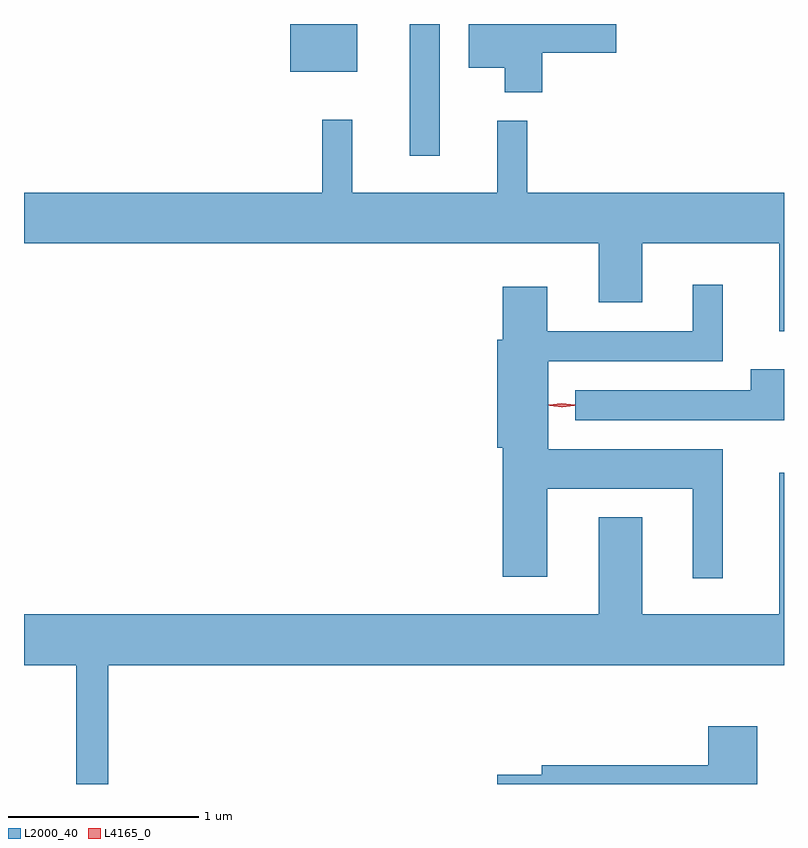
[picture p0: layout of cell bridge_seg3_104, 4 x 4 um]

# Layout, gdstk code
import gdstk
lib = gdstk.Library(unit=1e-6, precision=1e-09)
def R(c, l, rs):  # rectangles x0, y0, x1, y1
    for r in rs: c.add(gdstk.rectangle(r[:2], r[2:], *l))
def P(c, l, *ps):  # polygons
    for p in ps: c.add(gdstk.Polygon(p, *l))
L2000_40 = (2000, 40)
L4165_0 = (4165, 0)

bridge_seg3_104 = lib.new_cell('bridge_seg3_104')
R(bridge_seg3_104, L2000_40, [(1031.026,1224.158,1031.184,1224.851), (1030.396,1224.601,1030.749,1224.851)])
P(bridge_seg3_104, L2000_40, [(1031.724,1224.701),(1032.114,1224.701),(1032.114,1224.851),(1031.336,1224.851),(1031.336,1224.621),(1031.526,1224.621),(1031.526,1224.491),(1031.724,1224.491)],
  [(1032.996,1223.964),(1031.644,1223.964),(1031.644,1224.343),(1031.486,1224.343),(1031.486,1223.964),(1030.724,1223.964),(1030.724,1224.348),(1030.566,1224.348),(1030.566,1223.964),(1028.996,1223.964),(1028.996,1223.696),(1032.021,1223.696),(1032.021,1223.386),(1032.249,1223.386),(1032.249,1223.696),(1032.971,1223.696),(1032.971,1223.233),(1032.996,1223.233)],
  [(1032.674,1222.614),(1031.754,1222.614),(1031.754,1223.076),(1032.674,1223.076),(1032.674,1223.478),(1032.516,1223.478),(1032.516,1223.234),(1031.749,1223.234),(1031.749,1223.469),(1031.516,1223.469),(1031.516,1223.189),(1031.486,1223.189),(1031.486,1222.621),(1031.516,1222.621),(1031.516,1221.941),(1031.749,1221.941),(1031.749,1222.406),(1032.516,1222.406),(1032.516,1221.933),(1032.674,1221.933)],
  [(1032.996,1223.034),(1032.821,1223.034),(1032.821,1222.924),(1031.898,1222.924),(1031.898,1222.766),(1032.996,1222.766)],
  [(1029.439,1221.476),(1032.996,1221.476),(1032.996,1222.488),(1032.971,1222.488),(1032.971,1221.744),(1032.249,1221.744),(1032.249,1222.254),(1032.021,1222.254),(1032.021,1221.744),(1028.996,1221.744),(1028.996,1221.476),(1029.271,1221.476),(1029.271,1220.851),(1029.439,1220.851)],
  [(1032.854,1221.154),(1032.596,1221.154),(1032.596,1220.949),(1031.721,1220.949),(1031.721,1220.899),(1031.486,1220.899),(1031.486,1220.851),(1032.854,1220.851)])
P(bridge_seg3_104, L4165_0, [(1031.827,1222.835),(1031.759,1222.844),(1031.758,1222.845),(1031.759,1222.846),(1031.827,1222.855),(1031.896,1222.846),(1031.896,1222.845),(1031.896,1222.844)],
  [(1031.828,1222.833),(1031.763,1222.842),(1031.763,1222.843),(1031.763,1222.843),(1031.828,1222.853),(1031.892,1222.843),(1031.893,1222.843),(1031.892,1222.842)])

lib.write_gds('bridge_seg3_104.gds')
